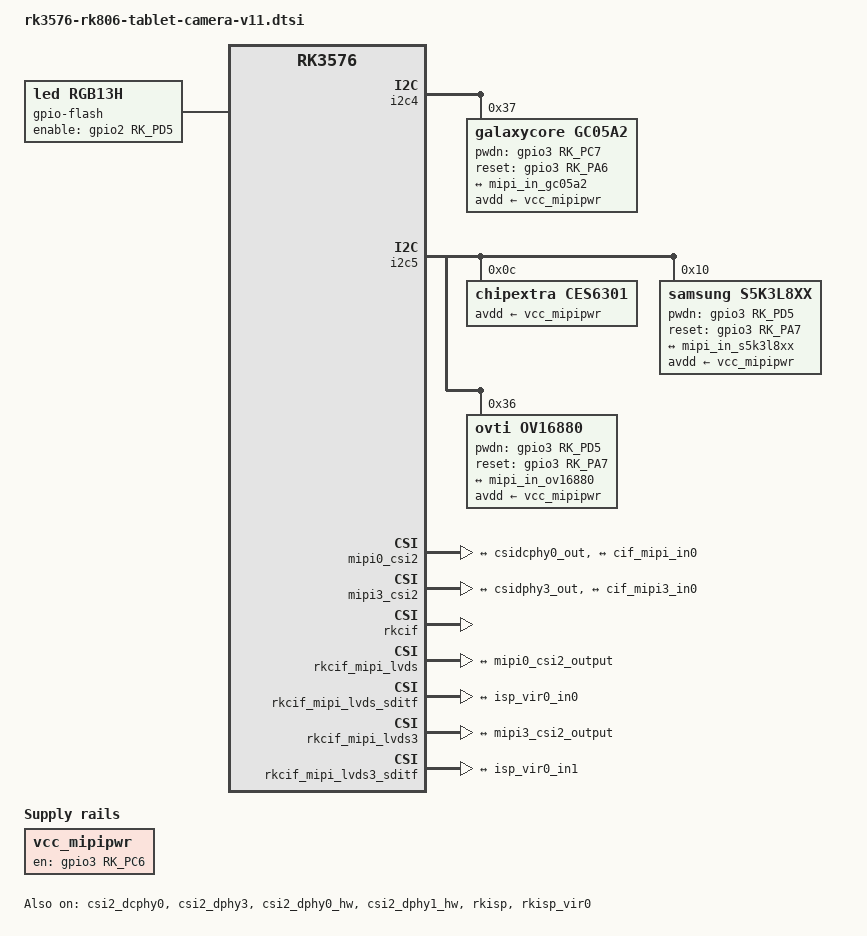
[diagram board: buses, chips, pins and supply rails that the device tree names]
// SPDX-License-Identifier: (GPL-2.0+ OR MIT)
/*
 * Copyright (c) 2024 Rockchip Electronics Co., Ltd.
 *
 */
/ {
	flash_rgb13h: flash-rgb13h {
		status = "okay";
		compatible = "led,rgb13h";
		label = "gpio-flash";
		pinctrl-names = "default";
		pinctrl-0 = <&flash_led_gpios>;
		led-max-microamp = <20000>;
		flash-max-microamp = <20000>;
		flash-max-timeout-us = <1000000>;
		enable-gpio = <&gpio2 RK_PD5 GPIO_ACTIVE_HIGH>;
		rockchip,camera-module-index = <0>;
		rockchip,camera-module-facing = "back";
	};

	vcc_mipipwr: vcc-mipipwr-regulator {
		compatible = "regulator-fixed";
		gpio = <&gpio3 RK_PC6 GPIO_ACTIVE_HIGH>;
		pinctrl-names = "default";
		pinctrl-0 = <&mipicam_pwr>;
		regulator-name = "vcc_mipipwr";
		enable-active-high;
		regulator-boot-on;
	};
};

&csi2_dcphy0 {
	status = "okay";

	ports {
		#address-cells = <1>;
		#size-cells = <0>;
		port@0 {
			reg = <0>;
			#address-cells = <1>;
			#size-cells = <0>;

			mipi_in_gc05a2: endpoint@1 {
				reg = <1>;
				remote-endpoint = <&gc05a2_out0>;
				data-lanes = <1 2 3 4>;
			};

		};
		port@1 {
			reg = <1>;
			#address-cells = <1>;
			#size-cells = <0>;

			csidcphy0_out: endpoint@0 {
				reg = <0>;
				remote-endpoint = <&mipi0_csi2_input>;
			};
		};
	};
};

&csi2_dphy3 {
	status = "okay";

	ports {
		#address-cells = <1>;
		#size-cells = <0>;
		port@0 {
			reg = <0>;
			#address-cells = <1>;
			#size-cells = <0>;

			mipi_in_s5k3l8xx: endpoint@1 {
				reg = <1>;
				remote-endpoint = <&s5k3l8xx_out0>;
				data-lanes = <1 2 3 4>;
			};

			mipi_in_ov16880: endpoint@2 {
				reg = <2>;
				remote-endpoint = <&ov16880_out0>;
				data-lanes = <1 2 3 4>;
			};
		};
		port@1 {
			reg = <1>;
			#address-cells = <1>;
			#size-cells = <0>;

			csidphy3_out: endpoint@0 {
				reg = <0>;
				remote-endpoint = <&mipi3_csi2_input>;
			};
		};
	};
};

&csi2_dphy0_hw {
	status = "okay";
};

&csi2_dphy1_hw {
	status = "okay";
};

&i2c4 {
	status = "okay";
	pinctrl-0 = <&i2c4m3_xfer>;

	gc05a2: gc05a2@37 {
		compatible = "galaxycore,gc05a2";
		status = "okay";
		reg = <0x37>;
		clocks = <&cru CLK_MIPI_CAMERAOUT_M0>;
		clock-names = "xvclk";
		pinctrl-names = "default";
		pinctrl-0 = <&cam_clk0m0_clk0>;
		pwdn-gpios = <&gpio3 RK_PC7 GPIO_ACTIVE_HIGH>;
		reset-gpios = <&gpio3 RK_PA6 GPIO_ACTIVE_HIGH>;
		avdd-supply = <&vcc_mipipwr>;
		//dovdd-supply = <&vcc_1v8_cam>;
		//dvdd-supply = <&vcc1v2_dvp>;
		rockchip,camera-module-index = <1>;
		rockchip,camera-module-facing = "front";
		rockchip,camera-module-name = "KYT-11210-V2";
		rockchip,camera-module-lens-name = "default";
		port {
			gc05a2_out0: endpoint {
				remote-endpoint = <&mipi_in_gc05a2>;
				data-lanes = <1 2>;
			};
		};
	};
};

&i2c5 {
	status = "okay";
	pinctrl-names = "default";
	pinctrl-0 = <&i2c5m3_xfer>;

	ces6301: ces6301@c {
		compatible = "chipextra,ces6301";
		status = "okay";
		reg = <0x0c>;
		avdd-supply = <&vcc_mipipwr>;
		rockchip,vcm-max-current = <120>;
		rockchip,vcm-start-current = <10>;
		rockchip,vcm-rated-current = <85>;
		rockchip,vcm-step-mode = <9>;
		rockchip,camera-module-index = <0>;
		rockchip,camera-module-facing = "back";
	};

	s5k3l8xx: s5k3l8xx@10 {
		status = "okay";
		compatible = "samsung,s5k3l8xx";
		reg = <0x10>;
		clocks = <&cru CLK_MIPI_CAMERAOUT_M2>;
		clock-names = "xvclk";
		pinctrl-names = "default";
		pinctrl-0 = <&cam_clk2m0_clk2>;
		pwdn-gpios = <&gpio3 RK_PD5 GPIO_ACTIVE_HIGH>;
		reset-gpios = <&gpio3 RK_PA7 GPIO_ACTIVE_HIGH>;
		avdd-supply = <&vcc_mipipwr>;
		//dovdd-supply = <&vcc_1v8_cam>;
		//dvdd-supply = <&vcc1v2_dvp>;
		rockchip,camera-module-index = <0>;
		rockchip,camera-module-facing = "back";
		rockchip,camera-module-name = "KYT-11097-B-V1";
		rockchip,camera-module-lens-name = "default";
		lens-focus = <&ces6301>;
		flash-leds = <&flash_rgb13h>;
		port {
			s5k3l8xx_out0: endpoint {
				remote-endpoint = <&mipi_in_s5k3l8xx>;
				data-lanes = <1 2 3 4>;
			};
		};
	};

	ov16880: ov16880@36 {
		status = "okay";
		compatible = "ovti,ov16880";
		reg = <0x36>;
		clocks = <&cru CLK_MIPI_CAMERAOUT_M2>;
		clock-names = "xvclk";
		pinctrl-names = "default";
		pinctrl-0 = <&cam_clk2m0_clk2>;
		pwdn-gpios = <&gpio3 RK_PD5 GPIO_ACTIVE_HIGH>;
		reset-gpios = <&gpio3 RK_PA7 GPIO_ACTIVE_HIGH>;
		avdd-supply = <&vcc_mipipwr>;
		//dovdd-supply = <&vcc_1v8_cam>;
		//dvdd-supply = <&vcc1v2_dvp>;
		rockchip,camera-module-index = <0>;
		rockchip,camera-module-facing = "back";
		rockchip,camera-module-name = "KYT-11379-V1";
		rockchip,camera-module-lens-name = "default";
		lens-focus = <&ces6301>;
		flash-leds = <&flash_rgb13h>;
		port {
			ov16880_out0: endpoint {
				remote-endpoint = <&mipi_in_ov16880>;
				data-lanes = <1 2 3 4>;
			};
		};
	};
};

&mipi0_csi2 {
	status = "okay";

	ports {
		#address-cells = <1>;
		#size-cells = <0>;

		port@0 {
			reg = <0>;
			#address-cells = <1>;
			#size-cells = <0>;

			mipi0_csi2_input: endpoint@1 {
				reg = <1>;
				remote-endpoint = <&csidcphy0_out>;
			};
		};

		port@1 {
			reg = <1>;
			#address-cells = <1>;
			#size-cells = <0>;

			mipi0_csi2_output: endpoint@0 {
				reg = <0>;
				remote-endpoint = <&cif_mipi_in0>;
			};
		};
	};
};

&mipi3_csi2 {
	status = "okay";

	ports {
		#address-cells = <1>;
		#size-cells = <0>;

		port@0 {
			reg = <0>;
			#address-cells = <1>;
			#size-cells = <0>;

			mipi3_csi2_input: endpoint@1 {
				reg = <1>;
				remote-endpoint = <&csidphy3_out>;
			};
		};

		port@1 {
			reg = <1>;
			#address-cells = <1>;
			#size-cells = <0>;

			mipi3_csi2_output: endpoint@0 {
				reg = <0>;
				remote-endpoint = <&cif_mipi3_in0>;
			};
		};
	};
};

&pinctrl {
	cam {
		mipicam_pwr: mipicam-pwr {
			rockchip,pins =
				/* camera power en */
				<3 RK_PC6 RK_FUNC_GPIO &pcfg_pull_none>;
		};

		flash_led_gpios: flash-led {
			rockchip,pins =
				/* flash led enable */
				<2 RK_PD5 RK_FUNC_GPIO &pcfg_pull_none>;
		};
	};
};

&rkcif {
	status = "okay";
};

&rkcif_mipi_lvds {
	status = "okay";

	port {
		cif_mipi_in0: endpoint {
			remote-endpoint = <&mipi0_csi2_output>;
		};
	};
};

&rkcif_mipi_lvds_sditf {
	status = "okay";

	port {
		mipi_lvds_sditf: endpoint {
			remote-endpoint = <&isp_vir0_in0>;
		};
	};
};

&rkcif_mipi_lvds3 {
	status = "okay";

	port {
		cif_mipi3_in0: endpoint {
			remote-endpoint = <&mipi3_csi2_output>;
		};
	};
};

&rkcif_mipi_lvds3_sditf {
	status = "okay";

	port {
		mipi_lvds3_sditf: endpoint {
			remote-endpoint = <&isp_vir0_in1>;
		};
	};
};

&rkcif_mmu {
	status = "okay";
};

&rkisp {
	status = "okay";
};

&rkisp_mmu {
	status = "okay";
};

&rkisp_vir0 {
	status = "okay";

	port {
		#address-cells = <1>;
		#size-cells = <0>;

		isp_vir0_in0: endpoint@0 {
			reg = <0>;
			remote-endpoint = <&mipi_lvds_sditf>;
		};

		isp_vir0_in1: endpoint@1 {
			reg = <1>;
			remote-endpoint = <&mipi_lvds3_sditf>;
		};
	};
};
